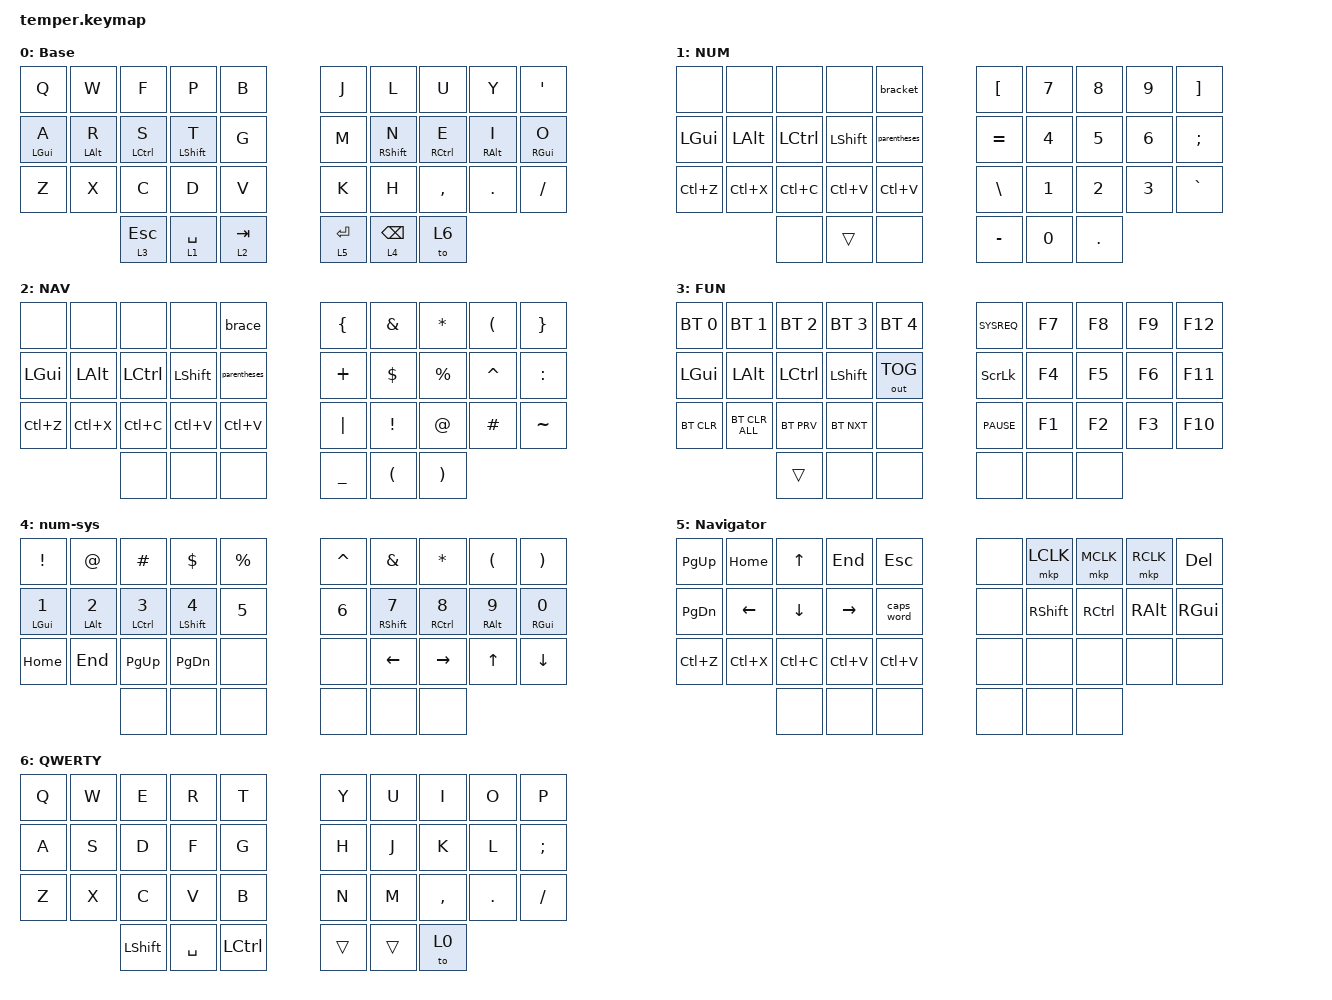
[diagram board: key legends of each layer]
/*
 * Copyright (c) 2020 duckyb
 *
 * SPDX-License-Identifier: MIT
 */

#include <behaviors.dtsi>
#include <dt-bindings/zmk/bt.h>
#include <dt-bindings/zmk/keys.h>
#include <dt-bindings/zmk/mouse.h>
#include <dt-bindings/zmk/outputs.h>

#define Base 0
#define NAV_NUM 1
#define SYM 2
#define FUN 3

&sk { quick-release; };

&lt {
    flavor = "hold-preferred";
    quick-tap-ms = <180>;
};

/ {
    behaviors {
        hm: hm {
            compatible = "zmk,behavior-hold-tap";
            label = "HM";
            bindings = <&kp>, <&kp>;

            #binding-cells = <2>;
            quick-tap-ms = <170>;
            tapping-term-ms = <190>;
            global-quick-tap;
            flavor = "tap-preferred";
        };

        hml: hml {
            compatible = "zmk,behavior-hold-tap";
            label = "HML";
            bindings = <&kp>, <&kp>;

            #binding-cells = <2>;
            tapping-term-ms = <280>;
            quick-tap-ms = <175>;
            require-prior-idle-ms = <150>;
            flavor = "balanced";
            hold-trigger-on-release;
            hold-trigger-key-positions = <0 1 2 3 4 20 21 22 23 24 14 30 31 32 33 34 35 25 15 5 6 16 26 27 17 7 8 18 28 29 19 9>;
        };

        hmr: hmr {
            compatible = "zmk,behavior-hold-tap";
            label = "HMR";
            bindings = <&kp>, <&kp>;

            #binding-cells = <2>;
            tapping-term-ms = <280>;
            quick-tap-ms = <175>;
            require-prior-idle-ms = <150>;
            flavor = "balanced";
            hold-trigger-on-release;
            hold-trigger-key-positions = <0 10 20 21 1 11 12 2 3 4 24 14 13 23 22 30 31 32 33 34 35 25 26 28 27 29 9 8 7 6 5 15>;
        };

        mo_tog: mo_tog {
            compatible = "zmk,behavior-hold-tap";
            label = "MO_TOG";
            bindings = <&mo>, <&tog>;

            #binding-cells = <2>;
            tapping-term-ms = <200>;
            quick-tap-ms = <180>;
        };
    };

    combos {
        compatible = "zmk,combos";

        left_bkt {
            bindings = <&kp LBKT>;
            key-positions = <3 4>;
            timeout-ms = <30>;
        };

        right_bkt {
            bindings = <&kp RBKT>;
            key-positions = <6 5>;
            timeout-ms = <30>;
        };

        left_par {
            bindings = <&kp LEFT_PARENTHESIS>;
            key-positions = <13 14>;
            timeout-ms = <30>;
        };

        right_par {
            bindings = <&kp RIGHT_PARENTHESIS>;
            key-positions = <16 15>;
            timeout-ms = <30>;
        };

        left_brace {
            bindings = <&kp LEFT_BRACE>;
            key-positions = <23 24>;
            timeout-ms = <35>;
        };

        right_brace {
            bindings = <&kp RIGHT_BRACE>;
            key-positions = <26 25>;
            timeout-ms = <35>;
        };

        bac {
            bindings = <&kp BACKSLASH>;
            key-positions = <3 14>;
        };

        pipe {
            bindings = <&kp PIPE>;
            key-positions = <15 5>;
            timeout-ms = <30>;
        };

        esc {
            bindings = <&kp ESC>;
            key-positions = <0 1>;
            timeout-ms = <30>;
        };

        enter {
            bindings = <&kp ENTER>;
            key-positions = <16 17>;
            timeout-ms = <30>;
        };

        tab {
            bindings = <&kp TAB>;
            key-positions = <12 13>;
            timeout-ms = <30>;
        };

        back {
            bindings = <&kp BACKSPACE>;
            key-positions = <8 9>;
            timeout-ms = <30>;
        };

        del {
            bindings = <&kp DELETE>;
            key-positions = <7 8>;
            timeout-ms = <30>;
        };

        cut {
            bindings = <&kp LC(X)>;
            key-positions = <21 22>;
            timeout-ms = <30>;
            layers = <0 6>;
        };

        copy {
            bindings = <&kp LC(C)>;
            key-positions = <22 23>;
            timeout-ms = <30>;
            layers = <0 6>;
        };

        slash {
            bindings = <&kp SLASH>;
            key-positions = <15 6>;
        };

        col-qwe {
            bindings = <&tog 6>;
            key-positions = <0 9>;
            layers = <0>;
        };

        minus {
            bindings = <&kp MINUS>;
            key-positions = <14 15>;
            layers = <1 2>;
        };

        underscore {
            bindings = <&kp UNDERSCORE>;
            key-positions = <24 25>;
            layers = <1 2>;
        };

        shift {
            bindings = <&kp LEFT_SHIFT>;
            key-positions = <20 21>;
            layers = <6>;
        };

        paste {
            bindings = <&kp LC(V)>;
            key-positions = <23 24>;
            layers = <0 6>;
        };

        undo {
            bindings = <&kp LC(Z)>;
            key-positions = <20 21>;
            layers = <0>;
        };

        caps {
            bindings = <&kp CAPS>;
            key-positions = <10 11>;
        };

        qwe-col {
            bindings = <&mo 0>;
            key-positions = <0 9>;
            layers = <6>;
        };
    };

    macros {
        parentheses: parentheses {
            compatible = "zmk,behavior-macro";
            #binding-cells = <0>;
            bindings = <&kp LPAR &kp RPAR &kp LEFT>;
            label = "PARENTHESES";
        };

        bracket: bracket {
            compatible = "zmk,behavior-macro";
            #binding-cells = <0>;
            bindings = <&kp LBKT &kp RIGHT_BRACKET &kp LEFT>;
            label = "BRACKET";
        };

        apostrophe: apostrophe {
            compatible = "zmk,behavior-macro";
            #binding-cells = <0>;
            bindings = <&kp SQT &kp SQT &kp LEFT>;
            label = "APOSTROPHE";
        };

        quotation: quotation {
            compatible = "zmk,behavior-macro";
            #binding-cells = <0>;
            bindings = <&kp DQT &kp DQT &kp LEFT>;
            label = "QUOTATION";
        };

        brace: brace {
            compatible = "zmk,behavior-macro";
            #binding-cells = <0>;
            bindings = <&kp LEFT_BRACE &kp RBRC &kp LEFT>;
            label = "BRACKET";
        };

        than: than {
            compatible = "zmk,behavior-macro";
            #binding-cells = <0>;
            bindings = <&kp LT &kp LEFT &kp GT>;
            label = "THAN";
        };
    };

    keymap {
        compatible = "zmk,keymap";

        Colemak-DH {
            label = "Colemak-DH";
            display-name = "Base";
            bindings = <
  &kp Q            &kp W            &kp F         &kp P              &kp B        &kp J        &kp L               &kp U         &kp Y             &kp SINGLE_QUOTE
  &hml LEFT_GUI A  &hml LEFT_ALT R  &hml LCTRL S  &hml LEFT_SHIFT T  &kp G        &kp M        &hmr RIGHT_SHIFT N  &hmr RCTRL E  &hmr RIGHT_ALT I  &hmr RIGHT_GUI O
  &kp Z            &kp X            &kp C         &kp D              &kp V        &kp K        &kp H               &kp COMMA     &kp DOT           &kp FSLH
                                    &lt 3 ESCAPE  &lt 1 SPACE        &lt 2 TAB    &lt 5 ENTER  &lt 4 BACKSPACE     &to 6
            >;
        };

        numpad {
            display-name = "NUM";
            label = "Numpad";
            bindings = <
  &none         &none         &none      &none           &bracket        &kp LEFT_BRACKET  &kp N7        &kp N8        &kp N9        &kp RIGHT_BRACKET
  &kp LEFT_GUI  &kp LEFT_ALT  &kp LCTRL  &kp LEFT_SHIFT  &parentheses    &kp EQUAL         &kp NUMBER_4  &kp NUMBER_5  &kp NUMBER_6  &kp SEMI
  &kp LC(Z)     &kp LC(X)     &kp LC(C)  &kp LC(V)       &kp LC(V)       &kp BACKSLASH     &kp NUMBER_1  &kp NUMBER_2  &kp NUMBER_3  &kp GRAVE
                              &none      &trans          &none           &kp MINUS         &kp N0        &kp PERIOD
            >;
        };

        sym {
            label = "sym";
            display-name = "NAV";
            bindings = <
  &none         &none         &none      &none           &brace          &kp LEFT_BRACE  &kp AMPERSAND         &kp ASTERISK           &kp LEFT_PARENTHESIS  &kp RIGHT_BRACE
  &kp LEFT_GUI  &kp LEFT_ALT  &kp LCTRL  &kp LEFT_SHIFT  &parentheses    &kp PLUS        &kp DOLLAR            &kp PERCENT            &kp CARET             &kp COLON
  &kp LC(Z)     &kp LC(X)     &kp LC(C)  &kp LC(V)       &kp LC(V)       &kp PIPE        &kp EXCLAMATION       &kp AT_SIGN            &kp HASH              &kp TILDE
                              &none      &none           &none           &kp UNDERSCORE  &kp LEFT_PARENTHESIS  &kp RIGHT_PARENTHESIS
            >;
        };

        fun {
            bindings = <
  &bt BT_SEL 0  &bt BT_SEL 1    &bt BT_SEL 2  &bt BT_SEL 3    &bt BT_SEL 4    &kp SYSREQ      &kp F7  &kp F8  &kp F9  &kp F12
  &kp LEFT_GUI  &kp LEFT_ALT    &kp LCTRL     &kp LEFT_SHIFT  &out OUT_TOG    &kp SCROLLLOCK  &kp F4  &kp F5  &kp F6  &kp F11
  &bt BT_CLR    &bt BT_CLR_ALL  &bt BT_PRV    &bt BT_NXT      &none           &kp C_PAUSE     &kp F1  &kp F2  &kp F3  &kp F10
                                &trans        &none           &none           &none           &none   &none
            >;

            display-name = "FUN";
            label = "FUN";
        };

        num-sys {
            bindings = <
  &kp EXCLAMATION         &kp AT_SIGN             &kp HASH             &kp DOLLAR                &kp PERCENT    &kp CARET  &kp AMPERSAND              &kp ASTERISK         &kp LEFT_PARENTHESIS     &kp RIGHT_PARENTHESIS
  &hml LEFT_GUI NUMBER_1  &hml LEFT_ALT NUMBER_2  &hml LCTRL NUMBER_3  &hml LEFT_SHIFT NUMBER_4  &kp N5         &kp N6     &hmr RIGHT_SHIFT NUMBER_7  &hmr RCTRL NUMBER_8  &hmr RIGHT_ALT NUMBER_9  &hmr RIGHT_GUI NUMBER_0
  &kp HOME                &kp END                 &kp PG_UP            &kp PAGE_DOWN             &none          &none      &kp LEFT                   &kp RIGHT            &kp UP                   &kp DOWN
                                                  &none                &none                     &none          &none      &none                      &none
            >;

            label = "num-sys";
        };

        Navigator {
            bindings = <
  &kp PG_UP  &kp HOME        &kp UP_ARROW    &kp END          &kp ESC       &none  &mkp LCLK        &mkp MCLK  &mkp RCLK      &kp DELETE
  &kp PG_DN  &kp LEFT_ARROW  &kp DOWN_ARROW  &kp RIGHT_ARROW  &caps_word    &none  &kp RIGHT_SHIFT  &kp RCTRL  &kp RIGHT_ALT  &kp RGUI
  &kp LC(Z)  &kp LC(X)       &kp LC(C)       &kp LC(V)        &kp LC(V)     &none  &none            &none      &none          &none
                             &none           &none            &none         &none  &none            &none
            >;

            label = "Navigator";
        };

        qwerty {
            bindings = <
  &kp Q  &kp W  &kp E           &kp R      &kp T        &kp Y   &kp U   &kp I      &kp O    &kp P
  &kp A  &kp S  &kp D           &kp F      &kp G        &kp H   &kp J   &kp K      &kp L    &kp SEMICOLON
  &kp Z  &kp X  &kp C           &kp V      &kp B        &kp N   &kp M   &kp COMMA  &kp DOT  &kp FSLH
                &kp LEFT_SHIFT  &kp SPACE  &kp LCTRL    &trans  &trans  &to 0
            >;

            label = "QWERTY";
        };
    };

    conditional_layers { compatible = "zmk,conditional-layers"; };
};
